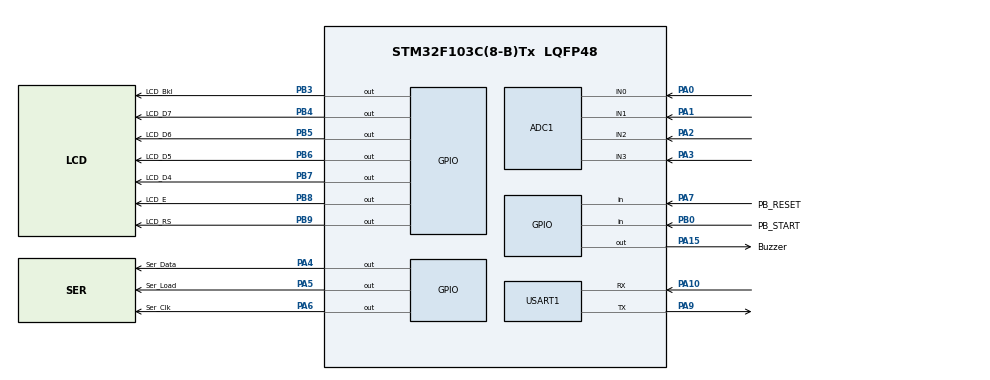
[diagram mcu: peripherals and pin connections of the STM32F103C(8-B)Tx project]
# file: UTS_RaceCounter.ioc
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ADC1.Channel-10\#ChannelRegularConversion=ADC_CHANNEL_1
ADC1.Channel-11\#ChannelRegularConversion=ADC_CHANNEL_2
ADC1.Channel-12\#ChannelRegularConversion=ADC_CHANNEL_3
ADC1.Channel-9\#ChannelRegularConversion=ADC_CHANNEL_0
ADC1.ContinuousConvMode=ENABLE
ADC1.NbrOfConversion=4
ADC1.NbrOfConversionFlag=1
ADC1.Rank-10\#ChannelRegularConversion=2
ADC1.Rank-11\#ChannelRegularConversion=3
ADC1.Rank-12\#ChannelRegularConversion=4
ADC1.Rank-9\#ChannelRegularConversion=1
ADC1.SamplingTime-10\#ChannelRegularConversion=ADC_SAMPLETIME_239CYCLES_5
ADC1.SamplingTime-11\#ChannelRegularConversion=ADC_SAMPLETIME_239CYCLES_5
ADC1.SamplingTime-12\#ChannelRegularConversion=ADC_SAMPLETIME_239CYCLES_5
ADC1.SamplingTime-9\#ChannelRegularConversion=ADC_SAMPLETIME_239CYCLES_5
ADC1.master=1
Dma.ADC1.0.Direction=DMA_PERIPH_TO_MEMORY
Dma.ADC1.0.Instance=DMA1_Channel1
Dma.ADC1.0.MemDataAlignment=DMA_MDATAALIGN_WORD
Dma.ADC1.0.MemInc=DMA_MINC_ENABLE
Dma.ADC1.0.Mode=DMA_CIRCULAR
Dma.ADC1.0.PeriphDataAlignment=DMA_PDATAALIGN_WORD
Dma.ADC1.0.PeriphInc=DMA_PINC_DISABLE
Dma.ADC1.0.Priority=DMA_PRIORITY_LOW
Dma.Request0=ADC1
Mcu.Family=STM32F1
Mcu.Name=STM32F103C(8-B)Tx
Mcu.Package=LQFP48
NVIC.DMA1_Channel1_IRQn=true\:0\:0\:false\:false\:true\:false\:true
NVIC.PriorityGroup=NVIC_PRIORITYGROUP_4
NVIC.TIM2_IRQn=true\:0\:0\:false\:false\:true\:true\:true
NVIC.TIM3_IRQn=true\:0\:0\:false\:false\:true\:true\:true
PA0-WKUP.Signal=ADCx_IN0
PA1.Signal=ADCx_IN1
PA10.Mode=Asynchronous
PA10.Signal=USART1_RX
PA13.Mode=Serial_Wire
PA13.Signal=SYS_JTMS-SWDIO
PA14.Mode=Serial_Wire
PA14.Signal=SYS_JTCK-SWCLK
PA15.GPIO_Label=Buzzer
PA15.Signal=GPIO_Output
PA2.Signal=ADCx_IN2
PA3.Signal=ADCx_IN3
PA4.GPIO_Label=Ser_Data
PA4.Signal=GPIO_Output
PA5.GPIO_Label=Ser_Load
PA5.Signal=GPIO_Output
PA6.GPIO_Label=Ser_Clk
PA6.Signal=GPIO_Output
PA7.GPIO_Label=PB_RESET
PA7.GPIO_PuPd=GPIO_PULLUP
PA7.Signal=GPIO_Input
PA9.Mode=Asynchronous
PA9.Signal=USART1_TX
PB0.GPIO_Label=PB_START
PB0.GPIO_PuPd=GPIO_PULLUP
PB0.Signal=GPIO_Input
PB3.GPIO_Label=LCD_Bkl
PB3.Signal=GPIO_Output
PB4.GPIO_Label=LCD_D7
PB4.Signal=GPIO_Output
PB5.GPIO_Label=LCD_D6
PB5.Signal=GPIO_Output
PB6.GPIO_Label=LCD_D5
PB6.Signal=GPIO_Output
PB7.GPIO_Label=LCD_D4
PB7.Signal=GPIO_Output
PB8.GPIO_Label=LCD_E
PB8.Signal=GPIO_Output
PB9.GPIO_Label=LCD_RS
PB9.Signal=GPIO_Output
PD0-OSC_IN.Mode=HSE-External-Oscillator
PD0-OSC_IN.Signal=RCC_OSC_IN
PD1-OSC_OUT.Mode=HSE-External-Oscillator
PD1-OSC_OUT.Signal=RCC_OSC_OUT
ProjectManager.HeapSize=0x200
ProjectManager.StackSize=0x400
ProjectManager.TargetToolchain=STM32CubeIDE
RCC.ADCPresc=RCC_ADCPCLK2_DIV6
RCC.AHBFreq_Value=72000000
RCC.APB1CLKDivider=RCC_HCLK_DIV2
RCC.APB1Freq_Value=36000000
RCC.APB1TimFreq_Value=72000000
RCC.APB2Freq_Value=72000000
RCC.APB2TimFreq_Value=72000000
RCC.HCLKFreq_Value=72000000
RCC.PLLMUL=RCC_PLL_MUL9
RCC.PLLSourceVirtual=RCC_PLLSOURCE_HSE
RCC.SYSCLKFreq_VALUE=72000000
RCC.SYSCLKSource=RCC_SYSCLKSOURCE_PLLCLK
RCC.USBFreq_Value=72000000
SH.ADCx_IN0.0=ADC1_IN0,IN0
SH.ADCx_IN1.0=ADC1_IN1,IN1
SH.ADCx_IN2.0=ADC1_IN2,IN2
SH.ADCx_IN3.0=ADC1_IN3,IN3
TIM2.Period=1
TIM2.Prescaler=35999
TIM3.Period=1
TIM3.Prescaler=35999
USART1.VirtualMode=VM_ASYNC
VP_TIM2_VS_ClockSourceINT.Mode=Internal
VP_TIM3_VS_ClockSourceINT.Mode=Internal
board=custom

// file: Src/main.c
/* USER CODE BEGIN Header */
/**
  ******************************************************************************
  * @file           : main.c
  * @brief          : Main program body
  ******************************************************************************
  * @attention
  *
  * <h2><center>&copy; Copyright (c) 2019 STMicroelectronics.
  * All rights reserved.</center></h2>
  *
  * This software component is licensed by ST under BSD 3-Clause license,
  * the "License"; You may not use this file except in compliance with the
  * License. You may obtain a copy of the License at:
  *                        opensource.org/licenses/BSD-3-Clause
  *
  ******************************************************************************
  */
/* USER CODE END Header */

#include "main.h"

/* USER CODE BEGIN Includes */
#include <string.h>
#include "myLedMatrix.h"
#include "myLCD.h"
#include "myTask.h"
#include "myHardware.h"
//#include "myADC.h"
/* USER CODE END Includes */

/* USER CODE BEGIN PTD */

uint8_t text[88] = {
	0x00, 0x00, 0x00, 0x00, 0x00, 0x00, 0x00, 0x00,	//Space
	0x00, 0x00, 0x00, 0x00, 0x00, 0x00, 0x00, 0x00,	//Space
	0x00, 0x00, 0x00, 0x00, 0x00, 0x00, 0x00, 0x00,	//Space
	0x00, 0x00, 0x00, 0x00, 0x00, 0x00, 0x00, 0x00,	//Space
	0x7E, 0x09, 0x09, 0x09, 0x7E, 0x00,		//A
	0x7F, 0x02, 0x04, 0x08, 0x7F, 0x00,		//N
	0x7F, 0x41, 0x41, 0x22, 0x1C, 0x00, 	//D
	0x00, 0x41, 0x7F, 0x41, 0x00, 0x00, 	//I
	0x00, 0x00, 0x00, 0x00, 0x00, 0x00, 0x00, 0x00,	//Space
	0x00, 0x00, 0x00, 0x00, 0x00, 0x00, 0x00, 0x00,	//Space
	0x00, 0x00, 0x00, 0x00, 0x00, 0x00, 0x00, 0x00,	//Space
	0x00, 0x00, 0x00, 0x00, 0x00, 0x00, 0x00, 0x00	//Space
};

/* USER CODE END PTD */

int main(void)
{

  /* MCU Configuration--------------------------------------------------------*/

  /* Reset of all peripherals, Initializes the Flash interface and the Systick. */
	HAL_Init();

  /* Configure the system clock */
  SystemClock_Config();

  /* Initialize all configured peripherals */
  MX_GPIO_Init();
  MX_USART1_UART_Init();
  MX_DMA_Init();
  MX_ADC1_Init();
  MX_TIM2_Init();
  MX_TIM3_Init();
  MX_DMA_Init();
  /* USER CODE BEGIN 2 */

  myTask_init();
  myLCD_init();
  myLCD_Bkl(1);
  HAL_ADC_Start_DMA(&hadc1, (uint32_t *)adcVal, 4);
  HAL_TIM_Base_Start_IT(&htim2);
  HAL_TIM_Base_Start_IT(&htim3);
  /* USER CODE END 2 */

  /* Infinite loop */
  /* USER CODE BEGIN WHILE */
  while (1)
  {
	/*	Nothing happen in while(1)	*/
    /* USER CODE END WHILE */

  }
}

/************************ (C) COPYRIGHT STMicroelectronics *****END OF FILE****/
